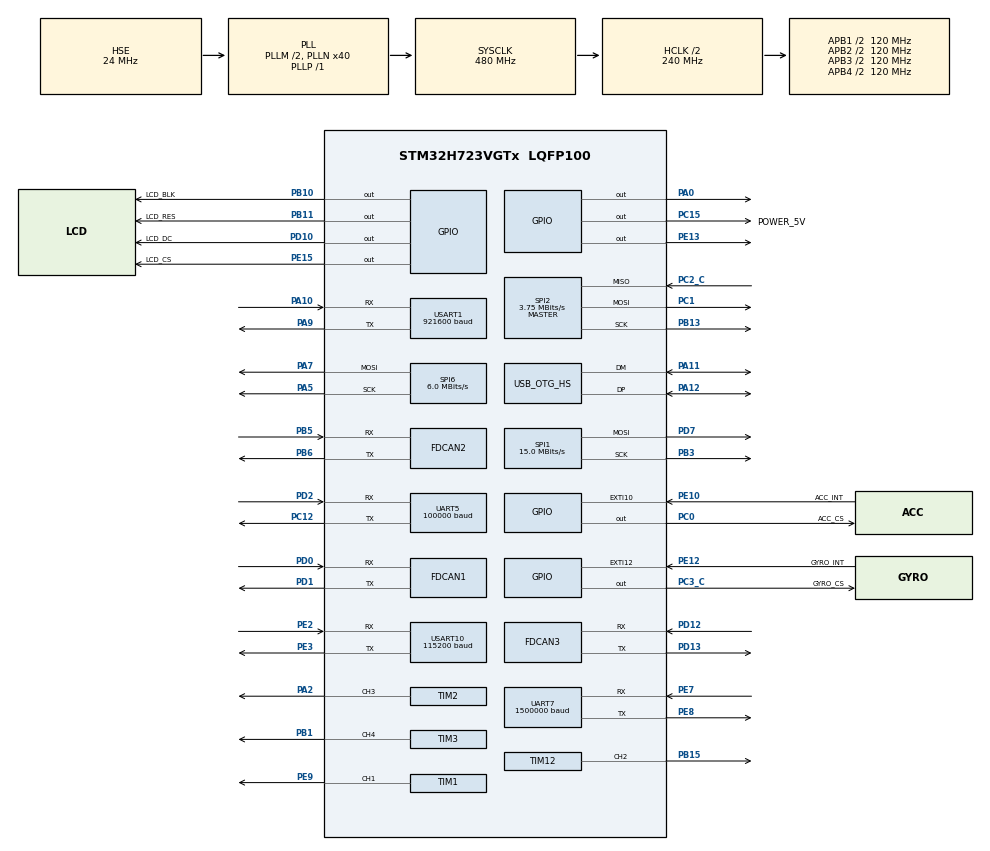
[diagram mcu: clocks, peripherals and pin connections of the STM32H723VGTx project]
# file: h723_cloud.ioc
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CORTEX_M7.default_mode_Activation=0
Dma.Request0=SPI2_RX
Dma.Request1=SPI2_TX
Dma.Request2=UART5_RX
Dma.Request3=USART10_TX
Dma.Request4=USART1_RX
Dma.Request5=UART7_RX
Dma.Request6=USART1_TX
Dma.SPI2_RX.0.Direction=DMA_PERIPH_TO_MEMORY
Dma.SPI2_RX.0.EventEnable=DISABLE
Dma.SPI2_RX.0.FIFOMode=DMA_FIFOMODE_DISABLE
Dma.SPI2_RX.0.Instance=DMA1_Stream2
Dma.SPI2_RX.0.MemDataAlignment=DMA_MDATAALIGN_BYTE
Dma.SPI2_RX.0.MemInc=DMA_MINC_ENABLE
Dma.SPI2_RX.0.Mode=DMA_NORMAL
Dma.SPI2_RX.0.PeriphDataAlignment=DMA_PDATAALIGN_BYTE
Dma.SPI2_RX.0.PeriphInc=DMA_PINC_DISABLE
Dma.SPI2_RX.0.Polarity=HAL_DMAMUX_REQ_GEN_RISING
Dma.SPI2_RX.0.Priority=DMA_PRIORITY_VERY_HIGH
Dma.SPI2_RX.0.RequestNumber=1
Dma.SPI2_RX.0.SignalID=NONE
Dma.SPI2_RX.0.SyncEnable=DISABLE
Dma.SPI2_RX.0.SyncPolarity=HAL_DMAMUX_SYNC_NO_EVENT
Dma.SPI2_RX.0.SyncRequestNumber=1
Dma.SPI2_RX.0.SyncSignalID=NONE
Dma.SPI2_TX.1.Direction=DMA_MEMORY_TO_PERIPH
Dma.SPI2_TX.1.EventEnable=DISABLE
Dma.SPI2_TX.1.FIFOMode=DMA_FIFOMODE_DISABLE
Dma.SPI2_TX.1.Instance=DMA1_Stream0
Dma.SPI2_TX.1.MemDataAlignment=DMA_MDATAALIGN_BYTE
Dma.SPI2_TX.1.MemInc=DMA_MINC_ENABLE
Dma.SPI2_TX.1.Mode=DMA_NORMAL
Dma.SPI2_TX.1.PeriphDataAlignment=DMA_PDATAALIGN_BYTE
Dma.SPI2_TX.1.PeriphInc=DMA_PINC_DISABLE
Dma.SPI2_TX.1.Polarity=HAL_DMAMUX_REQ_GEN_RISING
Dma.SPI2_TX.1.Priority=DMA_PRIORITY_HIGH
Dma.SPI2_TX.1.RequestNumber=1
Dma.SPI2_TX.1.SignalID=NONE
Dma.SPI2_TX.1.SyncEnable=DISABLE
Dma.SPI2_TX.1.SyncPolarity=HAL_DMAMUX_SYNC_NO_EVENT
Dma.SPI2_TX.1.SyncRequestNumber=1
Dma.SPI2_TX.1.SyncSignalID=NONE
Dma.UART5_RX.2.Direction=DMA_PERIPH_TO_MEMORY
Dma.UART5_RX.2.EventEnable=DISABLE
Dma.UART5_RX.2.FIFOMode=DMA_FIFOMODE_DISABLE
Dma.UART5_RX.2.Instance=DMA1_Stream1
Dma.UART5_RX.2.MemDataAlignment=DMA_MDATAALIGN_BYTE
Dma.UART5_RX.2.MemInc=DMA_MINC_ENABLE
Dma.UART5_RX.2.Mode=DMA_CIRCULAR
Dma.UART5_RX.2.PeriphDataAlignment=DMA_PDATAALIGN_BYTE
Dma.UART5_RX.2.PeriphInc=DMA_PINC_DISABLE
Dma.UART5_RX.2.Polarity=HAL_DMAMUX_REQ_GEN_RISING
Dma.UART5_RX.2.Priority=DMA_PRIORITY_VERY_HIGH
Dma.UART5_RX.2.RequestNumber=1
Dma.UART5_RX.2.SignalID=NONE
Dma.UART5_RX.2.SyncEnable=DISABLE
Dma.UART5_RX.2.SyncPolarity=HAL_DMAMUX_SYNC_NO_EVENT
Dma.UART5_RX.2.SyncRequestNumber=1
Dma.UART5_RX.2.SyncSignalID=NONE
Dma.UART7_RX.5.Direction=DMA_PERIPH_TO_MEMORY
Dma.UART7_RX.5.EventEnable=DISABLE
Dma.UART7_RX.5.FIFOMode=DMA_FIFOMODE_DISABLE
Dma.UART7_RX.5.Instance=DMA1_Stream5
Dma.UART7_RX.5.MemDataAlignment=DMA_MDATAALIGN_BYTE
Dma.UART7_RX.5.MemInc=DMA_MINC_ENABLE
Dma.UART7_RX.5.Mode=DMA_CIRCULAR
Dma.UART7_RX.5.PeriphDataAlignment=DMA_PDATAALIGN_BYTE
Dma.UART7_RX.5.PeriphInc=DMA_PINC_DISABLE
Dma.UART7_RX.5.Polarity=HAL_DMAMUX_REQ_GEN_RISING
Dma.UART7_RX.5.Priority=DMA_PRIORITY_VERY_HIGH
Dma.UART7_RX.5.RequestNumber=1
Dma.UART7_RX.5.SignalID=NONE
Dma.UART7_RX.5.SyncEnable=DISABLE
Dma.UART7_RX.5.SyncPolarity=HAL_DMAMUX_SYNC_NO_EVENT
Dma.UART7_RX.5.SyncRequestNumber=1
Dma.UART7_RX.5.SyncSignalID=NONE
Dma.USART10_TX.3.Direction=DMA_MEMORY_TO_PERIPH
Dma.USART10_TX.3.EventEnable=DISABLE
Dma.USART10_TX.3.FIFOMode=DMA_FIFOMODE_DISABLE
Dma.USART10_TX.3.Instance=DMA1_Stream3
Dma.USART10_TX.3.MemDataAlignment=DMA_MDATAALIGN_BYTE
Dma.USART10_TX.3.MemInc=DMA_MINC_ENABLE
Dma.USART10_TX.3.Mode=DMA_NORMAL
Dma.USART10_TX.3.PeriphDataAlignment=DMA_PDATAALIGN_BYTE
Dma.USART10_TX.3.PeriphInc=DMA_PINC_DISABLE
Dma.USART10_TX.3.Polarity=HAL_DMAMUX_REQ_GEN_RISING
Dma.USART10_TX.3.Priority=DMA_PRIORITY_LOW
Dma.USART10_TX.3.RequestNumber=1
Dma.USART10_TX.3.SignalID=NONE
Dma.USART10_TX.3.SyncEnable=DISABLE
Dma.USART10_TX.3.SyncPolarity=HAL_DMAMUX_SYNC_NO_EVENT
Dma.USART10_TX.3.SyncRequestNumber=1
Dma.USART10_TX.3.SyncSignalID=NONE
Dma.USART1_RX.4.Direction=DMA_PERIPH_TO_MEMORY
Dma.USART1_RX.4.EventEnable=DISABLE
Dma.USART1_RX.4.FIFOMode=DMA_FIFOMODE_DISABLE
Dma.USART1_RX.4.Instance=DMA1_Stream4
Dma.USART1_RX.4.MemDataAlignment=DMA_MDATAALIGN_BYTE
Dma.USART1_RX.4.MemInc=DMA_MINC_ENABLE
Dma.USART1_RX.4.Mode=DMA_CIRCULAR
Dma.USART1_RX.4.PeriphDataAlignment=DMA_PDATAALIGN_BYTE
Dma.USART1_RX.4.PeriphInc=DMA_PINC_DISABLE
Dma.USART1_RX.4.Polarity=HAL_DMAMUX_REQ_GEN_RISING
Dma.USART1_RX.4.Priority=DMA_PRIORITY_VERY_HIGH
Dma.USART1_RX.4.RequestNumber=1
Dma.USART1_RX.4.SignalID=NONE
Dma.USART1_RX.4.SyncEnable=DISABLE
Dma.USART1_RX.4.SyncPolarity=HAL_DMAMUX_SYNC_NO_EVENT
Dma.USART1_RX.4.SyncRequestNumber=1
Dma.USART1_RX.4.SyncSignalID=NONE
Dma.USART1_TX.6.Direction=DMA_MEMORY_TO_PERIPH
Dma.USART1_TX.6.EventEnable=DISABLE
Dma.USART1_TX.6.FIFOMode=DMA_FIFOMODE_DISABLE
Dma.USART1_TX.6.Instance=DMA1_Stream6
Dma.USART1_TX.6.MemDataAlignment=DMA_MDATAALIGN_BYTE
Dma.USART1_TX.6.MemInc=DMA_MINC_ENABLE
Dma.USART1_TX.6.Mode=DMA_NORMAL
Dma.USART1_TX.6.PeriphDataAlignment=DMA_PDATAALIGN_BYTE
Dma.USART1_TX.6.PeriphInc=DMA_PINC_DISABLE
Dma.USART1_TX.6.Polarity=HAL_DMAMUX_REQ_GEN_RISING
Dma.USART1_TX.6.Priority=DMA_PRIORITY_HIGH
Dma.USART1_TX.6.RequestNumber=1
Dma.USART1_TX.6.SignalID=NONE
Dma.USART1_TX.6.SyncEnable=DISABLE
Dma.USART1_TX.6.SyncPolarity=HAL_DMAMUX_SYNC_NO_EVENT
Dma.USART1_TX.6.SyncRequestNumber=1
Dma.USART1_TX.6.SyncSignalID=NONE
FDCAN1.AutoRetransmission=ENABLE
FDCAN1.CalculateBaudRateNominal=999999
FDCAN1.CalculateTimeBitNominal=1000
FDCAN1.CalculateTimeQuantumNominal=83.33333333333334
FDCAN1.NominalPrescaler=10
FDCAN1.NominalTimeSeg1=8
FDCAN1.NominalTimeSeg2=3
FDCAN1.RxFifo0ElmtsNbr=32
FDCAN1.StdFiltersNbr=1
FDCAN1.TxFifoQueueElmtsNbr=32
FDCAN1.TxFifoQueueMode=FDCAN_TX_FIFO_OPERATION
FDCAN2.CalculateBaudRateNominal=999999
FDCAN2.CalculateTimeBitNominal=1000
FDCAN2.CalculateTimeQuantumNominal=83.33333333333334
FDCAN2.MessageRAMOffset=1024
FDCAN2.NominalPrescaler=10
FDCAN2.NominalTimeSeg1=8
FDCAN2.NominalTimeSeg2=3
FDCAN2.RxFifo0ElmtsNbr=32
FDCAN2.StdFiltersNbr=1
FDCAN2.TxFifoQueueElmtsNbr=32
FDCAN3.CalculateBaudRateNominal=999999
FDCAN3.CalculateTimeBitNominal=1000
FDCAN3.CalculateTimeQuantumNominal=83.33333333333334
FDCAN3.MessageRAMOffset=2048
FDCAN3.NominalPrescaler=10
FDCAN3.NominalTimeSeg1=8
FDCAN3.NominalTimeSeg2=3
FDCAN3.RxFifo0ElmtsNbr=32
FDCAN3.StdFiltersNbr=1
FDCAN3.TxFifoQueueElmtsNbr=32
FREERTOS.BinarySemaphores01=imuBinarySem01,Static,imuBinarySemControlBlock;anoTxSem,Dynamic,NULL
FREERTOS.INCLUDE_eTaskGetState=1
FREERTOS.INCLUDE_pcTaskGetTaskName=1
FREERTOS.INCLUDE_uxTaskGetStackHighWaterMark=1
FREERTOS.INCLUDE_uxTaskGetStackHighWaterMark2=0
FREERTOS.INCLUDE_vTaskCleanUpResources=1
FREERTOS.INCLUDE_vTaskDelayUntil=1
FREERTOS.INCLUDE_xEventGroupSetBitFromISR=1
FREERTOS.INCLUDE_xQueueGetMutexHolder=1
FREERTOS.INCLUDE_xSemaphoreGetMutexHolder=1
FREERTOS.INCLUDE_xTaskAbortDelay=1
FREERTOS.INCLUDE_xTaskGetCurrentTaskHandle=1
FREERTOS.INCLUDE_xTaskGetHandle=1
FREERTOS.INCLUDE_xTimerPendFunctionCall=1
FREERTOS.MEMORY_ALLOCATION=2
FREERTOS.Queues01=rcQueue,1,36,1,Dynamic,NULL,NULL;canRxQueue,20,12,1,Dynamic,NULL,NULL;anoPrintQueue,10,44,1,Dynamic,NULL,NULL
FREERTOS.Tasks01=All_Init,47,256,All_Init_Run,Default,NULL,Dynamic,NULL,NULL;INSTask,48,1024,IMU_task,As external,NULL,Static,IMU_Buffer,IMUControlBlock;Gimbal_Task,40,2048,Gimbal_Control_task,As external,NULL,Dynamic,NULL,NULL;CanDecodeTask,32,512,Can_Decode_Task,As external,NULL,Dynamic,NULL,NULL;VisionTask,24,1024,vision_task,As external,NULL,Dynamic,NULL,NULL;AnoPrintTask,9,256,Print_Task,As external,NULL,Dynamic,NULL,NULL;DeviceTask,8,128,Device_Task,Default,NULL,Dynamic,NULL,NULL;PrintEntryTask,8,512,Print_Entry_Task,As external,NULL,Dynamic,NULL,NULL;VideoBridgeTask,20,512,Video_Bridge_Task,As external,NULL,Dynamic,NULL,NULL;MonitorTask,11,256,Monitor_Task,As external,NULL,Dynamic,NULL,NULL
FREERTOS.configTOTAL_HEAP_SIZE=49152
FREERTOS.configUSE_TIMERS=1
Mcu.Family=STM32H7
Mcu.Name=STM32H723VGTx
Mcu.Package=LQFP100
NVIC.DMA1_Stream0_IRQn=true\:5\:0\:true\:false\:true\:true\:false\:true\:true
NVIC.DMA1_Stream1_IRQn=true\:5\:0\:true\:false\:true\:true\:false\:true\:true
NVIC.DMA1_Stream2_IRQn=true\:5\:0\:false\:false\:true\:true\:false\:true\:true
NVIC.DMA1_Stream3_IRQn=true\:15\:0\:true\:false\:true\:true\:false\:true\:true
NVIC.DMA1_Stream4_IRQn=true\:5\:0\:false\:false\:true\:true\:false\:true\:true
NVIC.DMA1_Stream5_IRQn=true\:5\:0\:false\:false\:true\:true\:false\:true\:true
NVIC.DMA1_Stream6_IRQn=true\:5\:0\:false\:false\:true\:true\:false\:true\:true
NVIC.EXTI15_10_IRQn=true\:6\:0\:true\:false\:true\:true\:true\:true\:true
NVIC.FDCAN1_IT0_IRQn=true\:5\:0\:true\:false\:true\:true\:true\:true\:true
NVIC.FDCAN2_IT0_IRQn=true\:5\:0\:true\:false\:true\:true\:true\:true\:true
NVIC.FDCAN3_IT0_IRQn=true\:5\:0\:true\:false\:true\:true\:true\:true\:true
NVIC.OTG_HS_IRQn=true\:5\:0\:true\:false\:true\:true\:true\:true\:true
NVIC.PriorityGroup=NVIC_PRIORITYGROUP_4
NVIC.SPI2_IRQn=true\:5\:0\:false\:false\:true\:true\:false\:true\:true
NVIC.TIM6_DAC_IRQn=true\:15\:0\:false\:false\:true\:false\:false\:true\:true
NVIC.TimeBase=TIM6_DAC_IRQn
NVIC.TimeBaseIP=TIM6
NVIC.UART5_IRQn=true\:5\:0\:false\:false\:true\:true\:true\:true\:true
NVIC.USART10_IRQn=true\:15\:0\:true\:false\:true\:true\:true\:true\:true
NVIC.USART1_IRQn=true\:5\:0\:false\:false\:true\:true\:true\:true\:true
PA0.GPIO_Speed=GPIO_SPEED_FREQ_VERY_HIGH
PA0.Signal=GPIO_Output
PA10.GPIO_Speed=GPIO_SPEED_FREQ_VERY_HIGH
PA10.Mode=Asynchronous
PA10.Signal=USART1_RX
PA11.Mode=Device_Only_FS
PA11.Signal=USB_OTG_HS_DM
PA12.Mode=Device_Only_FS
PA12.Signal=USB_OTG_HS_DP
PA13(JTMS/SWDIO).Mode=Serial_Wire
PA13(JTMS/SWDIO).Signal=DEBUG_JTMS-SWDIO
PA14(JTCK/SWCLK).Mode=Serial_Wire
PA14(JTCK/SWCLK).Signal=DEBUG_JTCK-SWCLK
PA2.GPIO_Speed=GPIO_SPEED_FREQ_VERY_HIGH
PA2.Signal=S_TIM2_CH3
PA5.Mode=TX_Only_Simplex_Unidirect_Master
PA5.Signal=SPI6_SCK
PA7.Mode=TX_Only_Simplex_Unidirect_Master
PA7.Signal=SPI6_MOSI
PA9.GPIO_Speed=GPIO_SPEED_FREQ_VERY_HIGH
PA9.Mode=Asynchronous
PA9.Signal=USART1_TX
PB1.Signal=S_TIM3_CH4
PB10.GPIO_Label=LCD_BLK
PB10.Signal=GPIO_Output
PB11.GPIO_Label=LCD_RES
PB11.Signal=GPIO_Output
PB13.GPIO_Speed=GPIO_SPEED_FREQ_VERY_HIGH
PB13.Mode=Full_Duplex_Master
PB13.Signal=SPI2_SCK
PB15.Signal=S_TIM12_CH2
PB3(JTDO/TRACESWO).Mode=TX_Only_Simplex_Unidirect_Master
PB3(JTDO/TRACESWO).Signal=SPI1_SCK
PB5.GPIO_Speed=GPIO_SPEED_FREQ_VERY_HIGH
PB5.Mode=FDCAN_Activate
PB5.Signal=FDCAN2_RX
PB6.GPIO_Speed=GPIO_SPEED_FREQ_VERY_HIGH
PB6.Mode=FDCAN_Activate
PB6.Signal=FDCAN2_TX
PC0.GPIO_Label=ACC_CS
PC0.GPIO_Speed=GPIO_SPEED_FREQ_VERY_HIGH
PC0.PinState=GPIO_PIN_SET
PC0.Signal=GPIO_Output
PC1.GPIO_Speed=GPIO_SPEED_FREQ_VERY_HIGH
PC1.Mode=Full_Duplex_Master
PC1.Signal=SPI2_MOSI
PC12.Mode=Asynchronous
PC12.Signal=UART5_TX
PC15-OSC32_OUT.GPIO_Label=POWER_5V
PC15-OSC32_OUT.PinState=GPIO_PIN_SET
PC15-OSC32_OUT.Signal=GPIO_Output
PC2_C.GPIO_Speed=GPIO_SPEED_FREQ_VERY_HIGH
PC2_C.Mode=Full_Duplex_Master
PC2_C.Signal=SPI2_MISO
PC3_C.GPIO_Label=GYRO_CS
PC3_C.GPIO_Speed=GPIO_SPEED_FREQ_VERY_HIGH
PC3_C.PinState=GPIO_PIN_SET
PC3_C.Signal=GPIO_Output
PD0.GPIO_Speed=GPIO_SPEED_FREQ_VERY_HIGH
PD0.Mode=FDCAN_Activate
PD0.Signal=FDCAN1_RX
PD1.GPIO_Speed=GPIO_SPEED_FREQ_VERY_HIGH
PD1.Mode=FDCAN_Activate
PD1.Signal=FDCAN1_TX
PD10.GPIO_Label=LCD_DC
PD10.Signal=GPIO_Output
PD12.GPIO_Speed=GPIO_SPEED_FREQ_VERY_HIGH
PD12.Mode=FDCAN_Activate
PD12.Signal=FDCAN3_RX
PD13.GPIO_Speed=GPIO_SPEED_FREQ_VERY_HIGH
PD13.Mode=FDCAN_Activate
PD13.Signal=FDCAN3_TX
PD2.Mode=Asynchronous
PD2.Signal=UART5_RX
PD7.Mode=TX_Only_Simplex_Unidirect_Master
PD7.Signal=SPI1_MOSI
PE10.GPIO_Label=ACC_INT
PE10.Signal=GPXTI10
PE12.GPIO_Label=GYRO_INT
PE12.Signal=GPXTI12
PE13.GPIO_PuPd=GPIO_PULLUP
PE13.Signal=GPIO_Output
PE15.GPIO_Label=LCD_CS
PE15.Signal=GPIO_Output
PE2.GPIO_Speed=GPIO_SPEED_FREQ_VERY_HIGH
PE2.Mode=Asynchronous
PE2.Signal=USART10_RX
PE3.GPIO_Speed=GPIO_SPEED_FREQ_VERY_HIGH
PE3.Mode=Asynchronous
PE3.Signal=USART10_TX
PE7.GPIO_Speed=GPIO_SPEED_FREQ_VERY_HIGH
PE7.Mode=Asynchronous
PE7.Signal=UART7_RX
PE8.GPIO_Speed=GPIO_SPEED_FREQ_VERY_HIGH
PE8.Mode=Asynchronous
PE8.Signal=UART7_TX
PE9.GPIO_Speed=GPIO_SPEED_FREQ_VERY_HIGH
PE9.Signal=S_TIM1_CH1
PH0-OSC_IN.Mode=HSE-External-Oscillator
PH0-OSC_IN.Signal=RCC_OSC_IN
PH1-OSC_OUT.Mode=HSE-External-Oscillator
PH1-OSC_OUT.Signal=RCC_OSC_OUT
ProjectManager.HeapSize=0x2000
ProjectManager.StackSize=0x2000
ProjectManager.TargetToolchain=MDK-ARM V5.32
RCC.ADCFreq_Value=48375000
RCC.APB1Freq_Value=120000000
RCC.APB2Freq_Value=120000000
RCC.APB3Freq_Value=120000000
RCC.APB4Freq_Value=120000000
RCC.CortexFreq_Value=480000000
RCC.D1PPRE=RCC_APB3_DIV2
RCC.D2PPRE1=RCC_APB1_DIV2
RCC.D2PPRE2=RCC_APB2_DIV2
RCC.D3PPRE=RCC_APB4_DIV2
RCC.DIVM1=2
RCC.DIVN1=40
RCC.DIVP1=1
RCC.DIVQ1=4
RCC.HCLKFreq_Value=240000000
RCC.HPRE=RCC_HCLK_DIV2
RCC.HSE_VALUE=24000000
RCC.PLLSourceVirtual=RCC_PLLSOURCE_HSE
RCC.SPI6CLockSelection=RCC_SPI6CLKSOURCE_HSE
RCC.SYSCLKFreq_VALUE=480000000
RCC.SYSCLKSource=RCC_SYSCLKSOURCE_PLLCLK
RCC.USBCLockSelection=RCC_USBCLKSOURCE_HSI48
RCC.USBFreq_Value=48000000
SH.S_TIM12_CH2.0=TIM12_CH2,PWM Generation2 CH2
SH.S_TIM1_CH1.0=TIM1_CH1,PWM Generation1 CH1
SH.S_TIM2_CH3.0=TIM2_CH3,PWM Generation3 CH3
SH.S_TIM3_CH4.0=TIM3_CH4,PWM Generation4 CH4
SPI1.BaudRatePrescaler=SPI_BAUDRATEPRESCALER_8
SPI1.CLKPolarity=SPI_POLARITY_HIGH
SPI1.CalculateBaudRate=15.0 MBits/s
SPI1.DataSize=SPI_DATASIZE_8BIT
SPI1.Direction=SPI_DIRECTION_2LINES_TXONLY
SPI1.Mode=SPI_MODE_MASTER
SPI1.VirtualType=VM_MASTER
SPI2.BaudRatePrescaler=SPI_BAUDRATEPRESCALER_32
SPI2.CLKPhase=SPI_PHASE_2EDGE
SPI2.CLKPolarity=SPI_POLARITY_HIGH
SPI2.CalculateBaudRate=3.75 MBits/s
SPI2.DataSize=SPI_DATASIZE_8BIT
SPI2.Direction=SPI_DIRECTION_2LINES
SPI2.Mode=SPI_MODE_MASTER
SPI2.VirtualType=VM_MASTER
SPI6.BaudRatePrescaler=SPI_BAUDRATEPRESCALER_4
SPI6.CLKPhase=SPI_PHASE_2EDGE
SPI6.CalculateBaudRate=6.0 MBits/s
SPI6.DataSize=SPI_DATASIZE_8BIT
SPI6.Direction=SPI_DIRECTION_2LINES_TXONLY
SPI6.Mode=SPI_MODE_MASTER
SPI6.VirtualType=VM_MASTER
TIM1.AutoReloadPreload=TIM_AUTORELOAD_PRELOAD_ENABLE
TIM1.AutomaticOutput=TIM_AUTOMATICOUTPUT_ENABLE
TIM1.Channel-PWM\ Generation1\ CH1=TIM_CHANNEL_1
TIM1.Period=20000-1
TIM1.Prescaler=240-1
TIM1.Pulse-PWM\ Generation1\ CH1=0
TIM12.Channel-PWM\ Generation2\ CH2=TIM_CHANNEL_2
TIM12.Period=2000-1
TIM12.Prescaler=48-1
TIM2.AutoReloadPreload=TIM_AUTORELOAD_PRELOAD_ENABLE
TIM2.Channel-PWM\ Generation3\ CH3=TIM_CHANNEL_3
TIM2.Period=20000-1
TIM2.Prescaler=240-1
TIM2.Pulse-PWM\ Generation3\ CH3=0
TIM3.AutoReloadPreload=TIM_AUTORELOAD_PRELOAD_ENABLE
TIM3.Channel-PWM\ Generation4\ CH4=TIM_CHANNEL_4
TIM3.Period=10000-1
TIM3.Prescaler=24-1
UART5.BaudRate=100000
UART5.Parity=PARITY_EVEN
UART5.StopBits=UART_STOPBITS_2
UART5.WordLength=WORDLENGTH_9B
UART7.BaudRate=1500000
USART1.BaudRate=921600
USART1.VirtualMode-Asynchronous=VM_ASYNC
USART10.BaudRate=115200
USART10.VirtualMode=VM_ASYNC
USB_DEVICE.CLASS_NAME_HS=CDC
USB_DEVICE.VirtualMode=Cdc
USB_DEVICE.VirtualModeHS=Cdc_HS
USB_OTG_HS.VirtualMode-Device_Only_FS=Device_Only_FS
VP_FREERTOS_VS_CMSIS_V2.Mode=CMSIS_V2
VP_RCC_USB.Mode=USB_HS
VP_SYS_VS_tim6.Mode=TIM6
VP_TIM1_VS_ClockSourceINT.Mode=Internal
VP_TIM2_VS_ClockSourceINT.Mode=Internal
VP_USB_DEVICE_VS_USB_DEVICE_CDC_HS.Mode=CDC_HS
board=custom

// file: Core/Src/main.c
/* USER CODE BEGIN Header */
/**
  ******************************************************************************
  * @file           : main.c
  * @brief          : Main program body
  ******************************************************************************
  * @attention
  *
  * Copyright (c) 2024 STMicroelectronics.
  * All rights reserved.
  *
  * This software is licensed under terms that can be found in the LICENSE file
  * in the root directory of this software component.
  * If no LICENSE file comes with this software, it is provided AS-IS.
  *
  ******************************************************************************
  */
/* USER CODE END Header */
#include "main.h"
#include "cmsis_os.h"
#include "dma.h"
#include "fdcan.h"
#include "spi.h"
#include "tim.h"
#include "usart.h"
#include "usb_device.h"
#include "gpio.h"

/* USER CODE BEGIN Includes */
#include <stdint.h>
#include "bsp_VT03.h"
#include "bsp_dwt.h"
#include "servo.h"
/* USER CODE END Includes */

void SystemClock_Config(void);
void MX_FREERTOS_Init(void);

int main(void)
{
  /* USER CODE BEGIN 1 */
    SCB_EnableICache();
    SCB_EnableDCache();
  /* USER CODE END 1 */

  /* MCU Configuration--------------------------------------------------------*/

  /* Reset of all peripherals, Initializes the Flash interface and the Systick. */
  HAL_Init();

  /* Configure the system clock */
  SystemClock_Config();

  /* Initialize all configured peripherals */
  MX_GPIO_Init();
  MX_DMA_Init();
  MX_FDCAN2_Init();
  MX_FDCAN3_Init();
  MX_SPI2_Init();
  MX_FDCAN1_Init();
  MX_TIM3_Init();
  MX_TIM12_Init();
  MX_SPI1_Init();
  MX_UART5_Init();
  MX_USART10_UART_Init();
  MX_SPI6_Init();
  MX_USART1_UART_Init();
  MX_TIM2_Init();
  MX_TIM1_Init();
  MX_UART7_Init();
  /* USER CODE BEGIN 2 */
	DWT_Init();

	VT03_Init();

	Bsp_Servo_Init();

  /* USER CODE END 2 */

  /* Init scheduler */
  osKernelInitialize();  /* Call init function for freertos objects (in freertos.c) */
  MX_FREERTOS_Init();

  /* Start scheduler */
  osKernelStart();
  /* We should never get here as control is now taken by the scheduler */
  /* Infinite loop */
  while (1)
  {

  }
}

void SystemClock_Config(void)
{
  RCC_OscInitTypeDef RCC_OscInitStruct = {0};
  RCC_ClkInitTypeDef RCC_ClkInitStruct = {0};
  RCC_CRSInitTypeDef RCC_CRSInitStruct = {0};

  /** Supply configuration update enable
  */
  HAL_PWREx_ConfigSupply(PWR_LDO_SUPPLY);

  /** Configure the main internal regulator output voltage
  */
  __HAL_PWR_VOLTAGESCALING_CONFIG(PWR_REGULATOR_VOLTAGE_SCALE0);

  while(!__HAL_PWR_GET_FLAG(PWR_FLAG_VOSRDY)) {}

  /** Initializes the RCC Oscillators according to the specified parameters
  * in the RCC_OscInitTypeDef structure.
  */
  RCC_OscInitStruct.OscillatorType = RCC_OSCILLATORTYPE_HSI48|RCC_OSCILLATORTYPE_HSE;
  RCC_OscInitStruct.HSEState = RCC_HSE_ON;
  RCC_OscInitStruct.HSI48State = RCC_HSI48_ON;
  RCC_OscInitStruct.PLL.PLLState = RCC_PLL_ON;
  RCC_OscInitStruct.PLL.PLLSource = RCC_PLLSOURCE_HSE;
  RCC_OscInitStruct.PLL.PLLM = 2;
  RCC_OscInitStruct.PLL.PLLN = 40;
  RCC_OscInitStruct.PLL.PLLP = 1;
  RCC_OscInitStruct.PLL.PLLQ = 4;
  RCC_OscInitStruct.PLL.PLLR = 2;
  RCC_OscInitStruct.PLL.PLLRGE = RCC_PLL1VCIRANGE_3;
  RCC_OscInitStruct.PLL.PLLVCOSEL = RCC_PLL1VCOWIDE;
  RCC_OscInitStruct.PLL.PLLFRACN = 0;
  if (HAL_RCC_OscConfig(&RCC_OscInitStruct) != HAL_OK)
  {
    Error_Handler();
  }

  /** Initializes the CPU, AHB and APB buses clocks
  */
  RCC_ClkInitStruct.ClockType = RCC_CLOCKTYPE_HCLK|RCC_CLOCKTYPE_SYSCLK
                              |RCC_CLOCKTYPE_PCLK1|RCC_CLOCKTYPE_PCLK2
                              |RCC_CLOCKTYPE_D3PCLK1|RCC_CLOCKTYPE_D1PCLK1;
  RCC_ClkInitStruct.SYSCLKSource = RCC_SYSCLKSOURCE_PLLCLK;
  RCC_ClkInitStruct.SYSCLKDivider = RCC_SYSCLK_DIV1;
  RCC_ClkInitStruct.AHBCLKDivider = RCC_HCLK_DIV2;
  RCC_ClkInitStruct.APB3CLKDivider = RCC_APB3_DIV2;
  RCC_ClkInitStruct.APB1CLKDivider = RCC_APB1_DIV2;
  RCC_ClkInitStruct.APB2CLKDivider = RCC_APB2_DIV2;
  RCC_ClkInitStruct.APB4CLKDivider = RCC_APB4_DIV2;

  if (HAL_RCC_ClockConfig(&RCC_ClkInitStruct, FLASH_LATENCY_3) != HAL_OK)
  {
    Error_Handler();
  }

  /** Enable the SYSCFG APB clock
  */
  __HAL_RCC_CRS_CLK_ENABLE();

  /** Configures CRS
  */
  RCC_CRSInitStruct.Prescaler = RCC_CRS_SYNC_DIV1;
  RCC_CRSInitStruct.Source = RCC_CRS_SYNC_SOURCE_USB2;
  RCC_CRSInitStruct.Polarity = RCC_CRS_SYNC_POLARITY_RISING;
  RCC_CRSInitStruct.ReloadValue = __HAL_RCC_CRS_RELOADVALUE_CALCULATE(48000000,1000);
  RCC_CRSInitStruct.ErrorLimitValue = 34;
  RCC_CRSInitStruct.HSI48CalibrationValue = 32;

  HAL_RCCEx_CRSConfig(&RCC_CRSInitStruct);
}

void HAL_TIM_PeriodElapsedCallback(TIM_HandleTypeDef *htim)
{
  if (htim->Instance == TIM6) {
    HAL_IncTick();
  }
}

void Error_Handler(void)
{
  __disable_irq();
  while (1)
  {
  }
}

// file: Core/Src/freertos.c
/* USER CODE BEGIN Header */
/**
  ******************************************************************************
  * File Name          : freertos.c
  * Description        : Code for freertos applications
  ******************************************************************************
  * @attention
  *
  * Copyright (c) 2025 STMicroelectronics.
  * All rights reserved.
  *
  * This software is licensed under terms that can be found in the LICENSE file
  * in the root directory of this software component.
  * If no LICENSE file comes with this software, it is provided AS-IS.
  *
  ******************************************************************************
  */
/* USER CODE END Header */

#include "FreeRTOS.h"
#include "task.h"
#include "main.h"
#include "cmsis_os.h"

/* USER CODE BEGIN Includes */
#include "cmsis_os2.h"
#include "INS_task.h"
#include "bsp_DR16.h"
#include "bsp_VT03.h"
#include "bsp_buzzer.h"
#include "bsp_ano_protocol.h"
#include "device_task.h"
#include "usb_device.h"
#include "bsp_dwt.h"
#include "servo.h"
#include "bsp_can.h"
#include "robot_control.h"
#include "control_task.h"
#include "print_task.h"
#include "can_task.h"

//#include "math.h"

/* USER CODE END Includes */

typedef StaticTask_t osStaticThreadDef_t;
typedef StaticSemaphore_t osStaticSemaphoreDef_t;
/* USER CODE BEGIN PTD */
//RC_ctrl_t *rc;
/* USER CODE END PTD */

/* Definitions for All_Init */
osThreadId_t All_InitHandle;
const osThreadAttr_t All_Init_attributes = {
  .name = "All_Init",
  .stack_size = 256 * 4,
  .priority = (osPriority_t) osPriorityHigh7,
};
/* Definitions for INSTask */
osThreadId_t INSTaskHandle;
uint32_t IMU_Buffer[ 1024 ];
osStaticThreadDef_t IMUControlBlock;
const osThreadAttr_t INSTask_attributes = {
  .name = "INSTask",
  .cb_mem = &IMUControlBlock,
  .cb_size = sizeof(IMUControlBlock),
  .stack_mem = &IMU_Buffer[0],
  .stack_size = sizeof(IMU_Buffer),
  .priority = (osPriority_t) osPriorityRealtime,
};
/* Definitions for Gimbal_Task */
osThreadId_t Gimbal_TaskHandle;
const osThreadAttr_t Gimbal_Task_attributes = {
  .name = "Gimbal_Task",
  .stack_size = 2048 * 4,
  .priority = (osPriority_t) osPriorityHigh,
};
/* Definitions for CanDecodeTask */
osThreadId_t CanDecodeTaskHandle;
const osThreadAttr_t CanDecodeTask_attributes = {
  .name = "CanDecodeTask",
  .stack_size = 512 * 4,
  .priority = (osPriority_t) osPriorityAboveNormal,
};
/* Definitions for VisionTask */
osThreadId_t VisionTaskHandle;
const osThreadAttr_t VisionTask_attributes = {
  .name = "VisionTask",
  .stack_size = 1024 * 4,
  .priority = (osPriority_t) osPriorityNormal,
};
/* Definitions for AnoPrintTask */
osThreadId_t AnoPrintTaskHandle;
const osThreadAttr_t AnoPrintTask_attributes = {
  .name = "AnoPrintTask",
  .stack_size = 256 * 4,
  .priority = (osPriority_t) osPriorityLow1,
};
/* Definitions for DeviceTask */
osThreadId_t DeviceTaskHandle;
const osThreadAttr_t DeviceTask_attributes = {
  .name = "DeviceTask",
  .stack_size = 128 * 4,
  .priority = (osPriority_t) osPriorityLow,
};
/* Definitions for PrintEntryTask */
osThreadId_t PrintEntryTaskHandle;
const osThreadAttr_t PrintEntryTask_attributes = {
  .name = "PrintEntryTask",
  .stack_size = 512 * 4,
  .priority = (osPriority_t) osPriorityLow,
};
/* Definitions for VideoBridgeTask */
osThreadId_t VideoBridgeTaskHandle;
const osThreadAttr_t VideoBridgeTask_attributes = {
  .name = "VideoBridgeTask",
  .stack_size = 512 * 4,
  .priority = (osPriority_t) osPriorityBelowNormal4,
};
/* Definitions for MonitorTask */
osThreadId_t MonitorTaskHandle;
const osThreadAttr_t MonitorTask_attributes = {
  .name = "MonitorTask",
  .stack_size = 256 * 4,
  .priority = (osPriority_t) osPriorityLow3,
};
/* Definitions for rcQueue */
osMessageQueueId_t rcQueueHandle;
const osMessageQueueAttr_t rcQueue_attributes = {
  .name = "rcQueue"
};
/* Definitions for canRxQueue */
osMessageQueueId_t canRxQueueHandle;
const osMessageQueueAttr_t canRxQueue_attributes = {
  .name = "canRxQueue"
};
/* Definitions for anoPrintQueue */
osMessageQueueId_t anoPrintQueueHandle;
const osMessageQueueAttr_t anoPrintQueue_attributes = {
  .name = "anoPrintQueue"
};
/* Definitions for imuBinarySem01 */
osSemaphoreId_t imuBinarySem01Handle;
osStaticSemaphoreDef_t imuBinarySemControlBlock;
const osSemaphoreAttr_t imuBinarySem01_attributes = {
  .name = "imuBinarySem01",
  .cb_mem = &imuBinarySemControlBlock,
  .cb_size = sizeof(imuBinarySemControlBlock),
};
/* Definitions for anoTxSem */
osSemaphoreId_t anoTxSemHandle;
const osSemaphoreAttr_t anoTxSem_attributes = {
  .name = "anoTxSem"
};

void All_Init_Run(void *argument);
extern void IMU_task(void const *argument);
extern void vision_task(void *argument);
extern void Print_Task(void *argument);
void Device_Task(void *argument);
extern void Video_Bridge_Task(void *argument);
extern void Monitor_Task(void *argument);

extern void MX_USB_DEVICE_Init(void);
void MX_FREERTOS_Init(void); /* (MISRA C 2004 rule 8.1) */

void MX_FREERTOS_Init(void) {

  /* Create the semaphores(s) */
  /* creation of imuBinarySem01 */
  imuBinarySem01Handle = osSemaphoreNew(1, 1, &imuBinarySem01_attributes);

  /* creation of anoTxSem */
  anoTxSemHandle = osSemaphoreNew(1, 1, &anoTxSem_attributes);

  /* Create the queue(s) */
  /* creation of rcQueue */
  rcQueueHandle = osMessageQueueNew (1, sizeof(DR16_Data_t), &rcQueue_attributes);

  /* creation of canRxQueue */
  canRxQueueHandle = osMessageQueueNew (20, sizeof(CAN_Rx_Message_t), &canRxQueue_attributes);

  /* creation of anoPrintQueue */
  anoPrintQueueHandle = osMessageQueueNew (10, sizeof(Print_Msg_t), &anoPrintQueue_attributes);

  /* Create the thread(s) */
  /* creation of All_Init */
  All_InitHandle = osThreadNew(All_Init_Run, NULL, &All_Init_attributes);

  /* creation of INSTask */
  INSTaskHandle = osThreadNew((osThreadFunc_t)IMU_task, NULL, &INSTask_attributes);

  /* creation of Gimbal_Task */
  Gimbal_TaskHandle = osThreadNew((osThreadFunc_t)Gimbal_Control_task, NULL, &Gimbal_Task_attributes);

  /* creation of CanDecodeTask */
  CanDecodeTaskHandle = osThreadNew((osThreadFunc_t)Can_Decode_Task, NULL, &CanDecodeTask_attributes);

  /* creation of VisionTask */
  VisionTaskHandle = osThreadNew(vision_task, NULL, &VisionTask_attributes);

  /* creation of AnoPrintTask */
  AnoPrintTaskHandle = osThreadNew(Print_Task, NULL, &AnoPrintTask_attributes);

  /* creation of DeviceTask */
  DeviceTaskHandle = osThreadNew(Device_Task, NULL, &DeviceTask_attributes);

  /* creation of PrintEntryTask */
  PrintEntryTaskHandle = osThreadNew((osThreadFunc_t)Print_Entry_Task, NULL, &PrintEntryTask_attributes);

  /* creation of VideoBridgeTask */
  VideoBridgeTaskHandle = osThreadNew(Video_Bridge_Task, NULL, &VideoBridgeTask_attributes);

  /* creation of MonitorTask */
  MonitorTaskHandle = osThreadNew(Monitor_Task, NULL, &MonitorTask_attributes);

}

void All_Init_Run(void *argument)
{
  /* USER CODE BEGIN All_Init_Run */

	osDelay(100);

	MX_USB_DEVICE_Init();

	taskENTER_CRITICAL();  //�����ٽ���

	BSP_FDCAN_Config();

	DR16_Init();

	Robot_Param_Init();

	taskEXIT_CRITICAL();   //�˳��ٽ���

	vTaskDelete(NULL);
  /* USER CODE END All_Init_Run */
}

void Device_Task(void *argument)
{
  /* USER CODE BEGIN Device_Task */
  /* Infinite loop */
  for(;;)
  {
    Device_task();
  }
  /* USER CODE END Device_Task */
}
